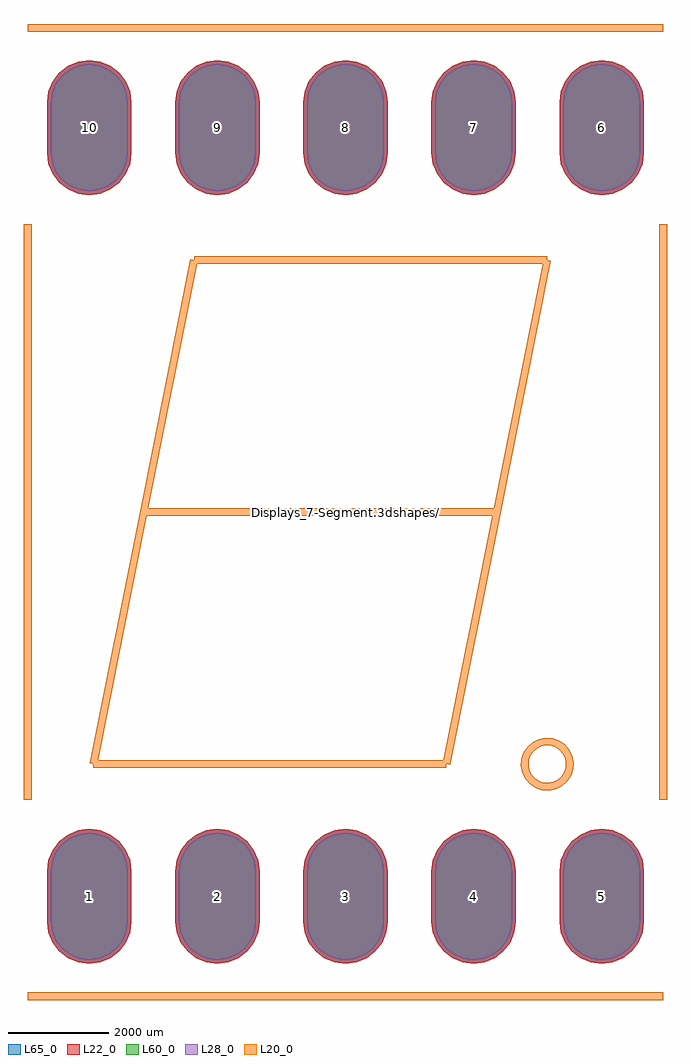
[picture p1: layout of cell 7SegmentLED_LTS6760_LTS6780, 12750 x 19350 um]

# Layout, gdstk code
import gdstk
lib = gdstk.Library(unit=1e-6, precision=1e-09)
def P(c, l, *ps):  # polygons
    for p in ps: c.add(gdstk.Polygon(p, *l))
L20_0 = (20, 0)
L22_0 = (22, 0)
L28_0 = (28, 0)
L60_0 = (60, 0)
L65_0 = (65, 0)

c_7segmentled_lts6760_lts6 = lib.new_cell('7SegmentLED_LTS6760_LTS6780')
P(c_7segmentled_lts6760_lts6, L22_0, [(-5080,6283),(-4863.368,6311.52),(-4661.5,6395.137),(-4488.152,6528.152),(-4355.137,6701.5),(-4271.52,6903.368),(-4243,7120),(-4243,8120),(-4271.52,8336.632),(-4355.137,8538.5),(-4488.152,8711.848),(-4661.5,8844.863),(-4863.368,8928.48),(-5080,8957),(-5296.632,8928.48),(-5498.5,8844.863),(-5671.848,8711.848),(-5804.863,8538.5),(-5888.48,8336.632),(-5917,8120),(-5917,7120),(-5888.48,6903.368),(-5804.863,6701.5),(-5671.848,6528.152),(-5498.5,6395.137),(-5296.632,6311.52)],
  [(-2540,6283),(-2323.368,6311.52),(-2121.5,6395.137),(-1948.152,6528.152),(-1815.137,6701.5),(-1731.52,6903.368),(-1703,7120),(-1703,8120),(-1731.52,8336.632),(-1815.137,8538.5),(-1948.152,8711.848),(-2121.5,8844.863),(-2323.368,8928.48),(-2540,8957),(-2756.632,8928.48),(-2958.5,8844.863),(-3131.848,8711.848),(-3264.863,8538.5),(-3348.48,8336.632),(-3377,8120),(-3377,7120),(-3348.48,6903.368),(-3264.863,6701.5),(-3131.848,6528.152),(-2958.5,6395.137),(-2756.632,6311.52)],
  [(0,6283),(216.632,6311.52),(418.5,6395.137),(591.848,6528.152),(724.863,6701.5),(808.48,6903.368),(837,7120),(837,8120),(808.48,8336.632),(724.863,8538.5),(591.848,8711.848),(418.5,8844.863),(216.632,8928.48),(0,8957),(-216.632,8928.48),(-418.5,8844.863),(-591.848,8711.848),(-724.863,8538.5),(-808.48,8336.632),(-837,8120),(-837,7120),(-808.48,6903.368),(-724.863,6701.5),(-591.848,6528.152),(-418.5,6395.137),(-216.632,6311.52)],
  [(2540,6283),(2756.632,6311.52),(2958.5,6395.137),(3131.848,6528.152),(3264.863,6701.5),(3348.48,6903.368),(3377,7120),(3377,8120),(3348.48,8336.632),(3264.863,8538.5),(3131.848,8711.848),(2958.5,8844.863),(2756.632,8928.48),(2540,8957),(2323.368,8928.48),(2121.5,8844.863),(1948.152,8711.848),(1815.137,8538.5),(1731.52,8336.632),(1703,8120),(1703,7120),(1731.52,6903.368),(1815.137,6701.5),(1948.152,6528.152),(2121.5,6395.137),(2323.368,6311.52)],
  [(5080,6283),(5296.632,6311.52),(5498.5,6395.137),(5671.848,6528.152),(5804.863,6701.5),(5888.48,6903.368),(5917,7120),(5917,8120),(5888.48,8336.632),(5804.863,8538.5),(5671.848,8711.848),(5498.5,8844.863),(5296.632,8928.48),(5080,8957),(4863.368,8928.48),(4661.5,8844.863),(4488.152,8711.848),(4355.137,8538.5),(4271.52,8336.632),(4243,8120),(4243,7120),(4271.52,6903.368),(4355.137,6701.5),(4488.152,6528.152),(4661.5,6395.137),(4863.368,6311.52)],
  [(5080,-8957),(5296.632,-8928.48),(5498.5,-8844.863),(5671.848,-8711.848),(5804.863,-8538.5),(5888.48,-8336.632),(5917,-8120),(5917,-7120),(5888.48,-6903.368),(5804.863,-6701.5),(5671.848,-6528.152),(5498.5,-6395.137),(5296.632,-6311.52),(5080,-6283),(4863.368,-6311.52),(4661.5,-6395.137),(4488.152,-6528.152),(4355.137,-6701.5),(4271.52,-6903.368),(4243,-7120),(4243,-8120),(4271.52,-8336.632),(4355.137,-8538.5),(4488.152,-8711.848),(4661.5,-8844.863),(4863.368,-8928.48)],
  [(2540,-8957),(2756.632,-8928.48),(2958.5,-8844.863),(3131.848,-8711.848),(3264.863,-8538.5),(3348.48,-8336.632),(3377,-8120),(3377,-7120),(3348.48,-6903.368),(3264.863,-6701.5),(3131.848,-6528.152),(2958.5,-6395.137),(2756.632,-6311.52),(2540,-6283),(2323.368,-6311.52),(2121.5,-6395.137),(1948.152,-6528.152),(1815.137,-6701.5),(1731.52,-6903.368),(1703,-7120),(1703,-8120),(1731.52,-8336.632),(1815.137,-8538.5),(1948.152,-8711.848),(2121.5,-8844.863),(2323.368,-8928.48)],
  [(0,-8957),(216.632,-8928.48),(418.5,-8844.863),(591.848,-8711.848),(724.863,-8538.5),(808.48,-8336.632),(837,-8120),(837,-7120),(808.48,-6903.368),(724.863,-6701.5),(591.848,-6528.152),(418.5,-6395.137),(216.632,-6311.52),(0,-6283),(-216.632,-6311.52),(-418.5,-6395.137),(-591.848,-6528.152),(-724.863,-6701.5),(-808.48,-6903.368),(-837,-7120),(-837,-8120),(-808.48,-8336.632),(-724.863,-8538.5),(-591.848,-8711.848),(-418.5,-8844.863),(-216.632,-8928.48)],
  [(-2540,-8957),(-2323.368,-8928.48),(-2121.5,-8844.863),(-1948.152,-8711.848),(-1815.137,-8538.5),(-1731.52,-8336.632),(-1703,-8120),(-1703,-7120),(-1731.52,-6903.368),(-1815.137,-6701.5),(-1948.152,-6528.152),(-2121.5,-6395.137),(-2323.368,-6311.52),(-2540,-6283),(-2756.632,-6311.52),(-2958.5,-6395.137),(-3131.848,-6528.152),(-3264.863,-6701.5),(-3348.48,-6903.368),(-3377,-7120),(-3377,-8120),(-3348.48,-8336.632),(-3264.863,-8538.5),(-3131.848,-8711.848),(-2958.5,-8844.863),(-2756.632,-8928.48)],
  [(-5080,-8957),(-4863.368,-8928.48),(-4661.5,-8844.863),(-4488.152,-8711.848),(-4355.137,-8538.5),(-4271.52,-8336.632),(-4243,-8120),(-4243,-7120),(-4271.52,-6903.368),(-4355.137,-6701.5),(-4488.152,-6528.152),(-4661.5,-6395.137),(-4863.368,-6311.52),(-5080,-6283),(-5296.632,-6311.52),(-5498.5,-6395.137),(-5671.848,-6528.152),(-5804.863,-6701.5),(-5888.48,-6903.368),(-5917,-7120),(-5917,-8120),(-5888.48,-8336.632),(-5804.863,-8538.5),(-5671.848,-8711.848),(-5498.5,-8844.863),(-5296.632,-8928.48)])
P(c_7segmentled_lts6760_lts6, L28_0, [(-5080,6358),(-4882.78,6383.965),(-4699,6460.089),(-4541.185,6581.185),(-4420.089,6739),(-4343.965,6922.78),(-4318,7120),(-4318,8120),(-4343.965,8317.22),(-4420.089,8501),(-4541.185,8658.815),(-4699,8779.911),(-4882.78,8856.035),(-5080,8882),(-5277.22,8856.035),(-5461,8779.911),(-5618.815,8658.815),(-5739.911,8501),(-5816.035,8317.22),(-5842,8120),(-5842,7120),(-5816.035,6922.78),(-5739.911,6739),(-5618.815,6581.185),(-5461,6460.089),(-5277.22,6383.965)],
  [(-2540,6358),(-2342.78,6383.965),(-2159,6460.089),(-2001.185,6581.185),(-1880.089,6739),(-1803.965,6922.78),(-1778,7120),(-1778,8120),(-1803.965,8317.22),(-1880.089,8501),(-2001.185,8658.815),(-2159,8779.911),(-2342.78,8856.035),(-2540,8882),(-2737.22,8856.035),(-2921,8779.911),(-3078.815,8658.815),(-3199.911,8501),(-3276.035,8317.22),(-3302,8120),(-3302,7120),(-3276.035,6922.78),(-3199.911,6739),(-3078.815,6581.185),(-2921,6460.089),(-2737.22,6383.965)],
  [(0,6358),(197.22,6383.965),(381,6460.089),(538.815,6581.185),(659.911,6739),(736.035,6922.78),(762,7120),(762,8120),(736.035,8317.22),(659.911,8501),(538.815,8658.815),(381,8779.911),(197.22,8856.035),(0,8882),(-197.22,8856.035),(-381,8779.911),(-538.815,8658.815),(-659.911,8501),(-736.035,8317.22),(-762,8120),(-762,7120),(-736.035,6922.78),(-659.911,6739),(-538.815,6581.185),(-381,6460.089),(-197.22,6383.965)],
  [(2540,6358),(2737.22,6383.965),(2921,6460.089),(3078.815,6581.185),(3199.911,6739),(3276.035,6922.78),(3302,7120),(3302,8120),(3276.035,8317.22),(3199.911,8501),(3078.815,8658.815),(2921,8779.911),(2737.22,8856.035),(2540,8882),(2342.78,8856.035),(2159,8779.911),(2001.185,8658.815),(1880.089,8501),(1803.965,8317.22),(1778,8120),(1778,7120),(1803.965,6922.78),(1880.089,6739),(2001.185,6581.185),(2159,6460.089),(2342.78,6383.965)],
  [(5080,6358),(5277.22,6383.965),(5461,6460.089),(5618.815,6581.185),(5739.911,6739),(5816.035,6922.78),(5842,7120),(5842,8120),(5816.035,8317.22),(5739.911,8501),(5618.815,8658.815),(5461,8779.911),(5277.22,8856.035),(5080,8882),(4882.78,8856.035),(4699,8779.911),(4541.185,8658.815),(4420.089,8501),(4343.965,8317.22),(4318,8120),(4318,7120),(4343.965,6922.78),(4420.089,6739),(4541.185,6581.185),(4699,6460.089),(4882.78,6383.965)],
  [(5080,-8882),(5277.22,-8856.035),(5461,-8779.911),(5618.815,-8658.815),(5739.911,-8501),(5816.035,-8317.22),(5842,-8120),(5842,-7120),(5816.035,-6922.78),(5739.911,-6739),(5618.815,-6581.185),(5461,-6460.089),(5277.22,-6383.965),(5080,-6358),(4882.78,-6383.965),(4699,-6460.089),(4541.185,-6581.185),(4420.089,-6739),(4343.965,-6922.78),(4318,-7120),(4318,-8120),(4343.965,-8317.22),(4420.089,-8501),(4541.185,-8658.815),(4699,-8779.911),(4882.78,-8856.035)],
  [(2540,-8882),(2737.22,-8856.035),(2921,-8779.911),(3078.815,-8658.815),(3199.911,-8501),(3276.035,-8317.22),(3302,-8120),(3302,-7120),(3276.035,-6922.78),(3199.911,-6739),(3078.815,-6581.185),(2921,-6460.089),(2737.22,-6383.965),(2540,-6358),(2342.78,-6383.965),(2159,-6460.089),(2001.185,-6581.185),(1880.089,-6739),(1803.965,-6922.78),(1778,-7120),(1778,-8120),(1803.965,-8317.22),(1880.089,-8501),(2001.185,-8658.815),(2159,-8779.911),(2342.78,-8856.035)],
  [(0,-8882),(197.22,-8856.035),(381,-8779.911),(538.815,-8658.815),(659.911,-8501),(736.035,-8317.22),(762,-8120),(762,-7120),(736.035,-6922.78),(659.911,-6739),(538.815,-6581.185),(381,-6460.089),(197.22,-6383.965),(0,-6358),(-197.22,-6383.965),(-381,-6460.089),(-538.815,-6581.185),(-659.911,-6739),(-736.035,-6922.78),(-762,-7120),(-762,-8120),(-736.035,-8317.22),(-659.911,-8501),(-538.815,-8658.815),(-381,-8779.911),(-197.22,-8856.035)],
  [(-2540,-8882),(-2342.78,-8856.035),(-2159,-8779.911),(-2001.185,-8658.815),(-1880.089,-8501),(-1803.965,-8317.22),(-1778,-8120),(-1778,-7120),(-1803.965,-6922.78),(-1880.089,-6739),(-2001.185,-6581.185),(-2159,-6460.089),(-2342.78,-6383.965),(-2540,-6358),(-2737.22,-6383.965),(-2921,-6460.089),(-3078.815,-6581.185),(-3199.911,-6739),(-3276.035,-6922.78),(-3302,-7120),(-3302,-8120),(-3276.035,-8317.22),(-3199.911,-8501),(-3078.815,-8658.815),(-2921,-8779.911),(-2737.22,-8856.035)],
  [(-5080,-8882),(-4882.78,-8856.035),(-4699,-8779.911),(-4541.185,-8658.815),(-4420.089,-8501),(-4343.965,-8317.22),(-4318,-8120),(-4318,-7120),(-4343.965,-6922.78),(-4420.089,-6739),(-4541.185,-6581.185),(-4699,-6460.089),(-4882.78,-6383.965),(-5080,-6358),(-5277.22,-6383.965),(-5461,-6460.089),(-5618.815,-6581.185),(-5739.911,-6739),(-5816.035,-6922.78),(-5842,-7120),(-5842,-8120),(-5816.035,-8317.22),(-5739.911,-8501),(-5618.815,-8658.815),(-5461,-8779.911),(-5277.22,-8856.035)])
P(c_7segmentled_lts6760_lts6, L60_0, [(-5080,6358),(-4882.78,6383.965),(-4699,6460.089),(-4541.185,6581.185),(-4420.089,6739),(-4343.965,6922.78),(-4318,7120),(-4318,8120),(-4343.965,8317.22),(-4420.089,8501),(-4541.185,8658.815),(-4699,8779.911),(-4882.78,8856.035),(-5080,8882),(-5277.22,8856.035),(-5461,8779.911),(-5618.815,8658.815),(-5739.911,8501),(-5816.035,8317.22),(-5842,8120),(-5842,7120),(-5816.035,6922.78),(-5739.911,6739),(-5618.815,6581.185),(-5461,6460.089),(-5277.22,6383.965)],
  [(-2540,6358),(-2342.78,6383.965),(-2159,6460.089),(-2001.185,6581.185),(-1880.089,6739),(-1803.965,6922.78),(-1778,7120),(-1778,8120),(-1803.965,8317.22),(-1880.089,8501),(-2001.185,8658.815),(-2159,8779.911),(-2342.78,8856.035),(-2540,8882),(-2737.22,8856.035),(-2921,8779.911),(-3078.815,8658.815),(-3199.911,8501),(-3276.035,8317.22),(-3302,8120),(-3302,7120),(-3276.035,6922.78),(-3199.911,6739),(-3078.815,6581.185),(-2921,6460.089),(-2737.22,6383.965)],
  [(0,6358),(197.22,6383.965),(381,6460.089),(538.815,6581.185),(659.911,6739),(736.035,6922.78),(762,7120),(762,8120),(736.035,8317.22),(659.911,8501),(538.815,8658.815),(381,8779.911),(197.22,8856.035),(0,8882),(-197.22,8856.035),(-381,8779.911),(-538.815,8658.815),(-659.911,8501),(-736.035,8317.22),(-762,8120),(-762,7120),(-736.035,6922.78),(-659.911,6739),(-538.815,6581.185),(-381,6460.089),(-197.22,6383.965)],
  [(2540,6358),(2737.22,6383.965),(2921,6460.089),(3078.815,6581.185),(3199.911,6739),(3276.035,6922.78),(3302,7120),(3302,8120),(3276.035,8317.22),(3199.911,8501),(3078.815,8658.815),(2921,8779.911),(2737.22,8856.035),(2540,8882),(2342.78,8856.035),(2159,8779.911),(2001.185,8658.815),(1880.089,8501),(1803.965,8317.22),(1778,8120),(1778,7120),(1803.965,6922.78),(1880.089,6739),(2001.185,6581.185),(2159,6460.089),(2342.78,6383.965)],
  [(5080,6358),(5277.22,6383.965),(5461,6460.089),(5618.815,6581.185),(5739.911,6739),(5816.035,6922.78),(5842,7120),(5842,8120),(5816.035,8317.22),(5739.911,8501),(5618.815,8658.815),(5461,8779.911),(5277.22,8856.035),(5080,8882),(4882.78,8856.035),(4699,8779.911),(4541.185,8658.815),(4420.089,8501),(4343.965,8317.22),(4318,8120),(4318,7120),(4343.965,6922.78),(4420.089,6739),(4541.185,6581.185),(4699,6460.089),(4882.78,6383.965)],
  [(5080,-8882),(5277.22,-8856.035),(5461,-8779.911),(5618.815,-8658.815),(5739.911,-8501),(5816.035,-8317.22),(5842,-8120),(5842,-7120),(5816.035,-6922.78),(5739.911,-6739),(5618.815,-6581.185),(5461,-6460.089),(5277.22,-6383.965),(5080,-6358),(4882.78,-6383.965),(4699,-6460.089),(4541.185,-6581.185),(4420.089,-6739),(4343.965,-6922.78),(4318,-7120),(4318,-8120),(4343.965,-8317.22),(4420.089,-8501),(4541.185,-8658.815),(4699,-8779.911),(4882.78,-8856.035)],
  [(2540,-8882),(2737.22,-8856.035),(2921,-8779.911),(3078.815,-8658.815),(3199.911,-8501),(3276.035,-8317.22),(3302,-8120),(3302,-7120),(3276.035,-6922.78),(3199.911,-6739),(3078.815,-6581.185),(2921,-6460.089),(2737.22,-6383.965),(2540,-6358),(2342.78,-6383.965),(2159,-6460.089),(2001.185,-6581.185),(1880.089,-6739),(1803.965,-6922.78),(1778,-7120),(1778,-8120),(1803.965,-8317.22),(1880.089,-8501),(2001.185,-8658.815),(2159,-8779.911),(2342.78,-8856.035)],
  [(0,-8882),(197.22,-8856.035),(381,-8779.911),(538.815,-8658.815),(659.911,-8501),(736.035,-8317.22),(762,-8120),(762,-7120),(736.035,-6922.78),(659.911,-6739),(538.815,-6581.185),(381,-6460.089),(197.22,-6383.965),(0,-6358),(-197.22,-6383.965),(-381,-6460.089),(-538.815,-6581.185),(-659.911,-6739),(-736.035,-6922.78),(-762,-7120),(-762,-8120),(-736.035,-8317.22),(-659.911,-8501),(-538.815,-8658.815),(-381,-8779.911),(-197.22,-8856.035)],
  [(-2540,-8882),(-2342.78,-8856.035),(-2159,-8779.911),(-2001.185,-8658.815),(-1880.089,-8501),(-1803.965,-8317.22),(-1778,-8120),(-1778,-7120),(-1803.965,-6922.78),(-1880.089,-6739),(-2001.185,-6581.185),(-2159,-6460.089),(-2342.78,-6383.965),(-2540,-6358),(-2737.22,-6383.965),(-2921,-6460.089),(-3078.815,-6581.185),(-3199.911,-6739),(-3276.035,-6922.78),(-3302,-7120),(-3302,-8120),(-3276.035,-8317.22),(-3199.911,-8501),(-3078.815,-8658.815),(-2921,-8779.911),(-2737.22,-8856.035)],
  [(-5080,-8882),(-4882.78,-8856.035),(-4699,-8779.911),(-4541.185,-8658.815),(-4420.089,-8501),(-4343.965,-8317.22),(-4318,-8120),(-4318,-7120),(-4343.965,-6922.78),(-4420.089,-6739),(-4541.185,-6581.185),(-4699,-6460.089),(-4882.78,-6383.965),(-5080,-6358),(-5277.22,-6383.965),(-5461,-6460.089),(-5618.815,-6581.185),(-5739.911,-6739),(-5816.035,-6922.78),(-5842,-7120),(-5842,-8120),(-5816.035,-8317.22),(-5739.911,-8501),(-5618.815,-8658.815),(-5461,-8779.911),(-5277.22,-8856.035)])
P(c_7segmentled_lts6760_lts6, L65_0, [(-5080,6283),(-4863.368,6311.52),(-4661.5,6395.137),(-4488.152,6528.152),(-4355.137,6701.5),(-4271.52,6903.368),(-4243,7120),(-4243,8120),(-4271.52,8336.632),(-4355.137,8538.5),(-4488.152,8711.848),(-4661.5,8844.863),(-4863.368,8928.48),(-5080,8957),(-5296.632,8928.48),(-5498.5,8844.863),(-5671.848,8711.848),(-5804.863,8538.5),(-5888.48,8336.632),(-5917,8120),(-5917,7120),(-5888.48,6903.368),(-5804.863,6701.5),(-5671.848,6528.152),(-5498.5,6395.137),(-5296.632,6311.52)],
  [(-2540,6283),(-2323.368,6311.52),(-2121.5,6395.137),(-1948.152,6528.152),(-1815.137,6701.5),(-1731.52,6903.368),(-1703,7120),(-1703,8120),(-1731.52,8336.632),(-1815.137,8538.5),(-1948.152,8711.848),(-2121.5,8844.863),(-2323.368,8928.48),(-2540,8957),(-2756.632,8928.48),(-2958.5,8844.863),(-3131.848,8711.848),(-3264.863,8538.5),(-3348.48,8336.632),(-3377,8120),(-3377,7120),(-3348.48,6903.368),(-3264.863,6701.5),(-3131.848,6528.152),(-2958.5,6395.137),(-2756.632,6311.52)],
  [(0,6283),(216.632,6311.52),(418.5,6395.137),(591.848,6528.152),(724.863,6701.5),(808.48,6903.368),(837,7120),(837,8120),(808.48,8336.632),(724.863,8538.5),(591.848,8711.848),(418.5,8844.863),(216.632,8928.48),(0,8957),(-216.632,8928.48),(-418.5,8844.863),(-591.848,8711.848),(-724.863,8538.5),(-808.48,8336.632),(-837,8120),(-837,7120),(-808.48,6903.368),(-724.863,6701.5),(-591.848,6528.152),(-418.5,6395.137),(-216.632,6311.52)],
  [(2540,6283),(2756.632,6311.52),(2958.5,6395.137),(3131.848,6528.152),(3264.863,6701.5),(3348.48,6903.368),(3377,7120),(3377,8120),(3348.48,8336.632),(3264.863,8538.5),(3131.848,8711.848),(2958.5,8844.863),(2756.632,8928.48),(2540,8957),(2323.368,8928.48),(2121.5,8844.863),(1948.152,8711.848),(1815.137,8538.5),(1731.52,8336.632),(1703,8120),(1703,7120),(1731.52,6903.368),(1815.137,6701.5),(1948.152,6528.152),(2121.5,6395.137),(2323.368,6311.52)],
  [(5080,6283),(5296.632,6311.52),(5498.5,6395.137),(5671.848,6528.152),(5804.863,6701.5),(5888.48,6903.368),(5917,7120),(5917,8120),(5888.48,8336.632),(5804.863,8538.5),(5671.848,8711.848),(5498.5,8844.863),(5296.632,8928.48),(5080,8957),(4863.368,8928.48),(4661.5,8844.863),(4488.152,8711.848),(4355.137,8538.5),(4271.52,8336.632),(4243,8120),(4243,7120),(4271.52,6903.368),(4355.137,6701.5),(4488.152,6528.152),(4661.5,6395.137),(4863.368,6311.52)],
  [(5080,-8957),(5296.632,-8928.48),(5498.5,-8844.863),(5671.848,-8711.848),(5804.863,-8538.5),(5888.48,-8336.632),(5917,-8120),(5917,-7120),(5888.48,-6903.368),(5804.863,-6701.5),(5671.848,-6528.152),(5498.5,-6395.137),(5296.632,-6311.52),(5080,-6283),(4863.368,-6311.52),(4661.5,-6395.137),(4488.152,-6528.152),(4355.137,-6701.5),(4271.52,-6903.368),(4243,-7120),(4243,-8120),(4271.52,-8336.632),(4355.137,-8538.5),(4488.152,-8711.848),(4661.5,-8844.863),(4863.368,-8928.48)],
  [(2540,-8957),(2756.632,-8928.48),(2958.5,-8844.863),(3131.848,-8711.848),(3264.863,-8538.5),(3348.48,-8336.632),(3377,-8120),(3377,-7120),(3348.48,-6903.368),(3264.863,-6701.5),(3131.848,-6528.152),(2958.5,-6395.137),(2756.632,-6311.52),(2540,-6283),(2323.368,-6311.52),(2121.5,-6395.137),(1948.152,-6528.152),(1815.137,-6701.5),(1731.52,-6903.368),(1703,-7120),(1703,-8120),(1731.52,-8336.632),(1815.137,-8538.5),(1948.152,-8711.848),(2121.5,-8844.863),(2323.368,-8928.48)],
  [(0,-8957),(216.632,-8928.48),(418.5,-8844.863),(591.848,-8711.848),(724.863,-8538.5),(808.48,-8336.632),(837,-8120),(837,-7120),(808.48,-6903.368),(724.863,-6701.5),(591.848,-6528.152),(418.5,-6395.137),(216.632,-6311.52),(0,-6283),(-216.632,-6311.52),(-418.5,-6395.137),(-591.848,-6528.152),(-724.863,-6701.5),(-808.48,-6903.368),(-837,-7120),(-837,-8120),(-808.48,-8336.632),(-724.863,-8538.5),(-591.848,-8711.848),(-418.5,-8844.863),(-216.632,-8928.48)],
  [(-2540,-8957),(-2323.368,-8928.48),(-2121.5,-8844.863),(-1948.152,-8711.848),(-1815.137,-8538.5),(-1731.52,-8336.632),(-1703,-8120),(-1703,-7120),(-1731.52,-6903.368),(-1815.137,-6701.5),(-1948.152,-6528.152),(-2121.5,-6395.137),(-2323.368,-6311.52),(-2540,-6283),(-2756.632,-6311.52),(-2958.5,-6395.137),(-3131.848,-6528.152),(-3264.863,-6701.5),(-3348.48,-6903.368),(-3377,-7120),(-3377,-8120),(-3348.48,-8336.632),(-3264.863,-8538.5),(-3131.848,-8711.848),(-2958.5,-8844.863),(-2756.632,-8928.48)],
  [(-5080,-8957),(-4863.368,-8928.48),(-4661.5,-8844.863),(-4488.152,-8711.848),(-4355.137,-8538.5),(-4271.52,-8336.632),(-4243,-8120),(-4243,-7120),(-4271.52,-6903.368),(-4355.137,-6701.5),(-4488.152,-6528.152),(-4661.5,-6395.137),(-4863.368,-6311.52),(-5080,-6283),(-5296.632,-6311.52),(-5498.5,-6395.137),(-5671.848,-6528.152),(-5804.863,-6701.5),(-5888.48,-6903.368),(-5917,-7120),(-5917,-8120),(-5888.48,-8336.632),(-5804.863,-8538.5),(-5671.848,-8711.848),(-5498.5,-8844.863),(-5296.632,-8928.48)])
c_7segmentled_lts6760_lts6.add(gdstk.FlexPath([(-6300,9600),(6300,9600)], 149.998, ends="flush", simple_path=True, layer=20, datatype=0))  # L20_0
c_7segmentled_lts6760_lts6.add(gdstk.FlexPath([(6300,5700),(6300,-5700)], 149.998, ends="flush", simple_path=True, layer=20, datatype=0))  # L20_0
c_7segmentled_lts6760_lts6.add(gdstk.FlexPath([(-6300,5700),(-6300,-5700)], 149.998, ends="flush", simple_path=True, layer=20, datatype=0))  # L20_0
c_7segmentled_lts6760_lts6.add(gdstk.FlexPath([(6300,-9600),(-6300,-9600)], 149.998, ends="flush", simple_path=True, layer=20, datatype=0))  # L20_0
c_7segmentled_lts6760_lts6.add(gdstk.FlexPath([(-3000,5000),(4000,5000)], 149.998, ends="flush", simple_path=True, layer=20, datatype=0))  # L20_0
c_7segmentled_lts6760_lts6.add(gdstk.FlexPath([(3000,0),(-4000,0)], 149.998, ends="flush", simple_path=True, layer=20, datatype=0))  # L20_0
c_7segmentled_lts6760_lts6.add(gdstk.FlexPath([(4000,5000),(3000,0)], 149.998, ends="flush", simple_path=True, layer=20, datatype=0))  # L20_0
c_7segmentled_lts6760_lts6.add(gdstk.FlexPath([(2000,-5000),(3000,0)], 149.998, ends="flush", simple_path=True, layer=20, datatype=0))  # L20_0
c_7segmentled_lts6760_lts6.add(gdstk.FlexPath([(-5000,-5000),(2000,-5000)], 149.998, ends="flush", simple_path=True, layer=20, datatype=0))  # L20_0
c_7segmentled_lts6760_lts6.add(gdstk.FlexPath([(-4000,0),(-5000,-5000)], 149.998, ends="flush", simple_path=True, layer=20, datatype=0))  # L20_0
c_7segmentled_lts6760_lts6.add(gdstk.FlexPath([(-3000,5000),(-4000,0)], 149.998, ends="flush", simple_path=True, layer=20, datatype=0))  # L20_0
c_7segmentled_lts6760_lts6.add(gdstk.FlexPath([(4400,-5200),(4438.134,-5089.658),(4446.41,-4973.205),(4424.264,-4858.579),(4373.205,-4753.59),(4296.713,-4665.393),(4200,-4600),(4089.658,-4561.866),(3973.205,-4553.59),(3858.579,-4575.736),(3753.59,-4626.795),(3665.393,-4703.287),(3600,-4800),(3561.866,-4910.342),(3553.59,-5026.795),(3575.736,-5141.421),(3626.795,-5246.41),(3703.287,-5334.607),(3800,-5400),(3910.342,-5438.134),(4026.795,-5446.41),(4141.421,-5424.264),(4246.41,-5373.205),(4334.607,-5296.713),(4400,-5200)], 149.998, ends="flush", simple_path=True, layer=20, datatype=0))  # L20_0
c_7segmentled_lts6760_lts6.add(gdstk.Label('Displays_7-Segment.3dshapes/7SegmentLED_LTS6760_LTS6780.wrl', (0,0), layer=12, texttype=0))
c_7segmentled_lts6760_lts6.add(gdstk.Label('10', (-5080,7620), layer=28, texttype=0))
c_7segmentled_lts6760_lts6.add(gdstk.Label('9', (-2540,7620), layer=28, texttype=0))
c_7segmentled_lts6760_lts6.add(gdstk.Label('8', (0,7620), layer=28, texttype=0))
c_7segmentled_lts6760_lts6.add(gdstk.Label('7', (2540,7620), layer=28, texttype=0))
c_7segmentled_lts6760_lts6.add(gdstk.Label('6', (5080,7620), layer=28, texttype=0))
c_7segmentled_lts6760_lts6.add(gdstk.Label('5', (5080,-7620), layer=28, texttype=0))
c_7segmentled_lts6760_lts6.add(gdstk.Label('4', (2540,-7620), layer=28, texttype=0))
c_7segmentled_lts6760_lts6.add(gdstk.Label('3', (0,-7620), layer=28, texttype=0))
c_7segmentled_lts6760_lts6.add(gdstk.Label('2', (-2540,-7620), layer=28, texttype=0))
c_7segmentled_lts6760_lts6.add(gdstk.Label('1', (-5080,-7620), layer=28, texttype=0))
c_7segmentled_lts6760_lts6.add(gdstk.Label('type', (-400,-12000), layer=9, texttype=0))
c_7segmentled_lts6760_lts6.add(gdstk.Label('devicename', (-9500,5800), layer=9, texttype=0))

lib.write_gds('7SegmentLED_LTS6760_LTS6780.gds')
